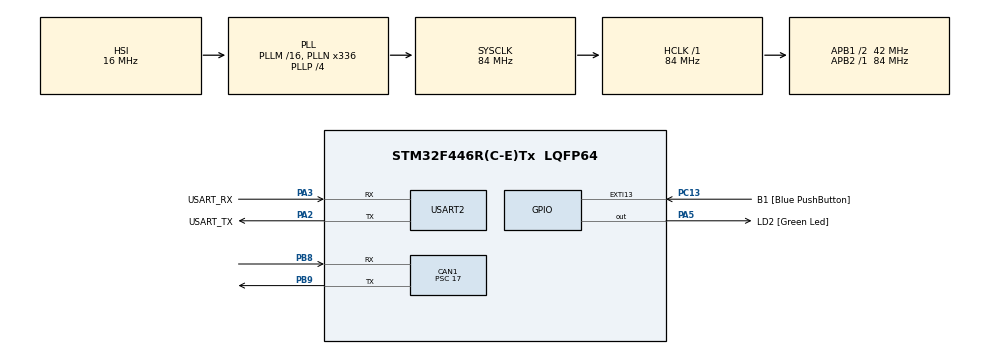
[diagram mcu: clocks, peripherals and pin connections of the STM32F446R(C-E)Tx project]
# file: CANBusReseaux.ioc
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CAN1.BS1=CAN_BS1_2TQ
CAN1.BS2=CAN_BS2_2TQ
CAN1.CalculateBaudRate=494117
CAN1.CalculateTimeBit=2023
CAN1.CalculateTimeQuantum=404.76190476190476
CAN1.Prescaler=17
Mcu.Family=STM32F4
Mcu.Name=STM32F446R(C-E)Tx
Mcu.Package=LQFP64
NVIC.PriorityGroup=NVIC_PRIORITYGROUP_0
PA13.GPIO_Label=TMS
PA13.Mode=Serial_Wire
PA13.Signal=SYS_JTMS-SWDIO
PA14.GPIO_Label=TCK
PA14.Mode=Serial_Wire
PA14.Signal=SYS_JTCK-SWCLK
PA2.GPIO_Label=USART_TX
PA2.Mode=Asynchronous
PA2.Signal=USART2_TX
PA3.GPIO_Label=USART_RX
PA3.Mode=Asynchronous
PA3.Signal=USART2_RX
PA5.GPIO_Label=LD2 [Green Led]
PA5.Signal=GPIO_Output
PB3.GPIO_Label=SWO
PB3.Signal=SYS_JTDO-SWO
PB8.Mode=CAN_Activate
PB8.Signal=CAN1_RX
PB9.Mode=CAN_Activate
PB9.Signal=CAN1_TX
PC13.GPIO_Label=B1 [Blue PushButton]
PC13.GPIO_ModeDefaultEXTI=GPIO_MODE_IT_FALLING
PC13.Signal=GPXTI13
PC14-OSC32_IN.Mode=LSE-External-Oscillator
PC14-OSC32_IN.Signal=RCC_OSC32_IN
PC15-OSC32_OUT.Mode=LSE-External-Oscillator
PC15-OSC32_OUT.Signal=RCC_OSC32_OUT
PH0-OSC_IN.Mode=HSE-External-Oscillator
PH0-OSC_IN.Signal=RCC_OSC_IN
PH1-OSC_OUT.Mode=HSE-External-Oscillator
PH1-OSC_OUT.Signal=RCC_OSC_OUT
ProjectManager.HeapSize=0x200
ProjectManager.StackSize=0x400
ProjectManager.TargetToolchain=STM32CubeIDE
RCC.48MHZClocksFreq_Value=84000000
RCC.AHBFreq_Value=84000000
RCC.APB1CLKDivider=RCC_HCLK_DIV2
RCC.APB1Freq_Value=42000000
RCC.APB1TimFreq_Value=84000000
RCC.APB2Freq_Value=84000000
RCC.APB2TimFreq_Value=84000000
RCC.CortexFreq_Value=84000000
RCC.FLatency-AdvancedSettings=FLASH_LATENCY_2
RCC.HCLKFreq_Value=84000000
RCC.HSE_VALUE=8000000
RCC.HSI_VALUE=16000000
RCC.PLLN=336
RCC.PLLP=RCC_PLLP_DIV4
RCC.SYSCLKFreq_VALUE=84000000
RCC.SYSCLKSource=RCC_SYSCLKSOURCE_PLLCLK
RCC.USBFreq_Value=168000000
RCC.VCOOutputFreq_Value=336000000
USART2.VirtualMode=VM_ASYNC
board=NUCLEO-F446RE

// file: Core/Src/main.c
/* USER CODE BEGIN Header */
/**
  ******************************************************************************
  * @file           : main.c
  * @brief          : Main program body
  ******************************************************************************
  * @attention
  *
  * Copyright (c) 2022 STMicroelectronics.
  * All rights reserved.
  *
  * This software is licensed under terms that can be found in the LICENSE file
  * in the root directory of this software component.
  * If no LICENSE file comes with this software, it is provided AS-IS.
  *
  ******************************************************************************
  */
/* USER CODE END Header */
#include "main.h"

CAN_HandleTypeDef hcan1;

UART_HandleTypeDef huart2;

void SystemClock_Config(void);
static void MX_GPIO_Init(void);
static void MX_USART2_UART_Init(void);
static void MX_CAN1_Init(void);

int main(void)
{

  /* MCU Configuration--------------------------------------------------------*/

  /* Reset of all peripherals, Initializes the Flash interface and the Systick. */
  HAL_Init();

  /* Configure the system clock */
  SystemClock_Config();

  /* Initialize all configured peripherals */
  MX_GPIO_Init();
  MX_USART2_UART_Init();
  MX_CAN1_Init();
  /* USER CODE BEGIN 2 */
  HAL_CAN_Start(&hcan1);
  CAN_TxHeaderTypeDef Header = {0};
  Header.StdId = 0x61;
  Header.IDE = CAN_ID_STD;
  Header.RTR = CAN_RTR_DATA;
  Header.DLC = 2;
  Header.TransmitGlobalTime = DISABLE;
  HAL_StatusTypeDef Retour;

  uint32_t MailBox;

  uint8_t TxData[2] = {0x54,0x01};

  //while(HAL_CAN_IsTxMessagePending(&hcan1, &MailBox));
  //while(1);
  /* USER CODE END 2 */

  /* Infinite loop */
  /* USER CODE BEGIN WHILE */
  while (1)
  {
	  Retour = HAL_CAN_AddTxMessage(&hcan1, &Header, TxData, &MailBox);
	  //while(HAL_CAN_IsTxMessagePending(&hcan1, &MailBox));
	  HAL_Delay(1000);
	  TxData[1] = 0x00;
	  Retour = HAL_CAN_AddTxMessage(&hcan1, &Header, TxData, &MailBox);
	  //while(HAL_CAN_IsTxMessagePending(&hcan1, &MailBox));
	  HAL_Delay(1000);
	  TxData[1] = 0x01;
    /* USER CODE END WHILE */

  }
}

void SystemClock_Config(void)
{
  RCC_OscInitTypeDef RCC_OscInitStruct = {0};
  RCC_ClkInitTypeDef RCC_ClkInitStruct = {0};

  /** Configure the main internal regulator output voltage
  */
  __HAL_RCC_PWR_CLK_ENABLE();
  __HAL_PWR_VOLTAGESCALING_CONFIG(PWR_REGULATOR_VOLTAGE_SCALE3);

  /** Initializes the RCC Oscillators according to the specified parameters
  * in the RCC_OscInitTypeDef structure.
  */
  RCC_OscInitStruct.OscillatorType = RCC_OSCILLATORTYPE_HSI;
  RCC_OscInitStruct.HSIState = RCC_HSI_ON;
  RCC_OscInitStruct.HSICalibrationValue = RCC_HSICALIBRATION_DEFAULT;
  RCC_OscInitStruct.PLL.PLLState = RCC_PLL_ON;
  RCC_OscInitStruct.PLL.PLLSource = RCC_PLLSOURCE_HSI;
  RCC_OscInitStruct.PLL.PLLM = 16;
  RCC_OscInitStruct.PLL.PLLN = 336;
  RCC_OscInitStruct.PLL.PLLP = RCC_PLLP_DIV4;
  RCC_OscInitStruct.PLL.PLLQ = 2;
  RCC_OscInitStruct.PLL.PLLR = 2;
  if (HAL_RCC_OscConfig(&RCC_OscInitStruct) != HAL_OK)
  {
    Error_Handler();
  }

  /** Initializes the CPU, AHB and APB buses clocks
  */
  RCC_ClkInitStruct.ClockType = RCC_CLOCKTYPE_HCLK|RCC_CLOCKTYPE_SYSCLK
                              |RCC_CLOCKTYPE_PCLK1|RCC_CLOCKTYPE_PCLK2;
  RCC_ClkInitStruct.SYSCLKSource = RCC_SYSCLKSOURCE_PLLCLK;
  RCC_ClkInitStruct.AHBCLKDivider = RCC_SYSCLK_DIV1;
  RCC_ClkInitStruct.APB1CLKDivider = RCC_HCLK_DIV2;
  RCC_ClkInitStruct.APB2CLKDivider = RCC_HCLK_DIV1;

  if (HAL_RCC_ClockConfig(&RCC_ClkInitStruct, FLASH_LATENCY_2) != HAL_OK)
  {
    Error_Handler();
  }
}

static void MX_CAN1_Init(void)
{

  hcan1.Instance = CAN1;
  hcan1.Init.Prescaler = 17;
  hcan1.Init.Mode = CAN_MODE_NORMAL;
  hcan1.Init.SyncJumpWidth = CAN_SJW_1TQ;
  hcan1.Init.TimeSeg1 = CAN_BS1_2TQ;
  hcan1.Init.TimeSeg2 = CAN_BS2_2TQ;
  hcan1.Init.TimeTriggeredMode = DISABLE;
  hcan1.Init.AutoBusOff = DISABLE;
  hcan1.Init.AutoWakeUp = DISABLE;
  hcan1.Init.AutoRetransmission = DISABLE;
  hcan1.Init.ReceiveFifoLocked = DISABLE;
  hcan1.Init.TransmitFifoPriority = DISABLE;
  if (HAL_CAN_Init(&hcan1) != HAL_OK)
  {
    Error_Handler();
  }

}

static void MX_USART2_UART_Init(void)
{

  huart2.Instance = USART2;
  huart2.Init.BaudRate = 115200;
  huart2.Init.WordLength = UART_WORDLENGTH_8B;
  huart2.Init.StopBits = UART_STOPBITS_1;
  huart2.Init.Parity = UART_PARITY_NONE;
  huart2.Init.Mode = UART_MODE_TX_RX;
  huart2.Init.HwFlowCtl = UART_HWCONTROL_NONE;
  huart2.Init.OverSampling = UART_OVERSAMPLING_16;
  if (HAL_UART_Init(&huart2) != HAL_OK)
  {
    Error_Handler();
  }

}

static void MX_GPIO_Init(void)
{
  GPIO_InitTypeDef GPIO_InitStruct = {0};

  /* GPIO Ports Clock Enable */
  __HAL_RCC_GPIOC_CLK_ENABLE();
  __HAL_RCC_GPIOH_CLK_ENABLE();
  __HAL_RCC_GPIOA_CLK_ENABLE();
  __HAL_RCC_GPIOB_CLK_ENABLE();

  /*Configure GPIO pin Output Level */
  HAL_GPIO_WritePin(LD2_GPIO_Port, LD2_Pin, GPIO_PIN_RESET);

  /*Configure GPIO pin : B1_Pin */
  GPIO_InitStruct.Pin = B1_Pin;
  GPIO_InitStruct.Mode = GPIO_MODE_IT_FALLING;
  GPIO_InitStruct.Pull = GPIO_NOPULL;
  HAL_GPIO_Init(B1_GPIO_Port, &GPIO_InitStruct);

  /*Configure GPIO pin : LD2_Pin */
  GPIO_InitStruct.Pin = LD2_Pin;
  GPIO_InitStruct.Mode = GPIO_MODE_OUTPUT_PP;
  GPIO_InitStruct.Pull = GPIO_NOPULL;
  GPIO_InitStruct.Speed = GPIO_SPEED_FREQ_LOW;
  HAL_GPIO_Init(LD2_GPIO_Port, &GPIO_InitStruct);

}

void Error_Handler(void)
{
  __disable_irq();
  while (1)
  {
  }
}
